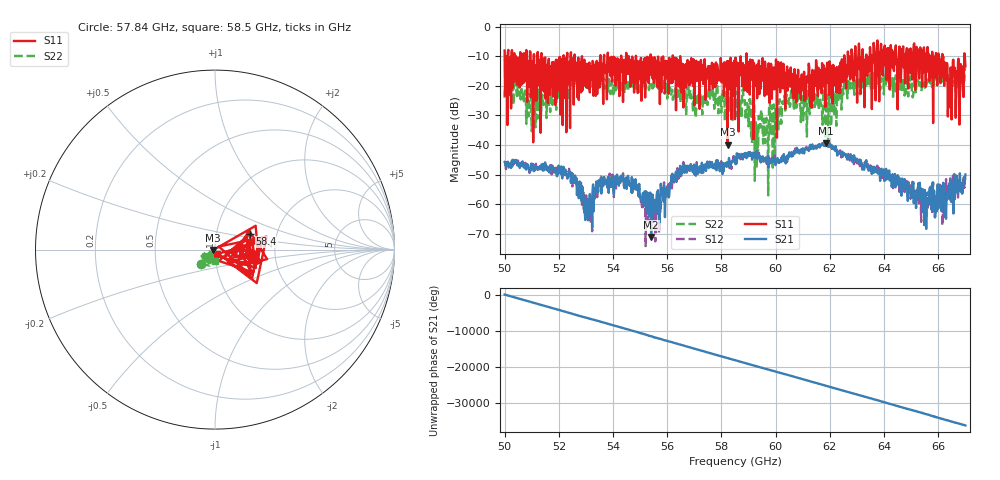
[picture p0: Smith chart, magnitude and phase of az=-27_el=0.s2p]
!Created with skrf (http://scikit-rf.org).
# GHz S RI R 50.0
!freq ReS11 ImS11 ReS21 ImS21 ReS12 ImS12 ReS22 ImS22
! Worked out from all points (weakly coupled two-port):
!   1001 points, 50 GHz to 67 GHz, reference 50 ohm
!   highest |S21| = -39.38 dB at 61.87 GHz (marker M1); lowest = -71.1 dB at 55.41 GHz (marker M2)
!   lowest |S11| = -39.9 dB at 58.23 GHz (marker M3), VSWR 1.02, Z = 49 - j0.263 ohm
!   |S11| at or under -10 dB: 51.36 GHz to 52.17 GHz (808.1 MHz wide, 1.56 % of centre); 56.48 GHz to 58.92 GHz (2.446 GHz wide, 4.24 % of centre); 58.93 GHz to 62.53 GHz (3.598 GHz wide, 5.92 % of centre) (the widest 3 of 65)
!   |S22| runs from -57.1 to -13.2 dB; largest |S21 - S12| = 0.0022
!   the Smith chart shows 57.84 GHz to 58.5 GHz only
!   S11 on the Smith chart (normalised r, x): 57.84 GHz: 1.56, -0.19; 58.4 GHz: 1.46, +0.27; 58.5 GHz: 1.02, -0.05
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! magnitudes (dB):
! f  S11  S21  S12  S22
! 50 GHz  -8.1  -45.8  -46.3  -24.1
! 51.07 GHz  -9.4  -48.9  -47.6  -26.4
! 52.84 GHz  -11.2  -59.0  -56.2  -19.4
! 53.04 GHz  -14.6  -61.2  -58.2  -20.6
! 53.55 GHz  -18.2  -51.3  -50.7  -16.0
! 54.37 GHz  -25.5  -50.4  -49.6  -18.4
! 55.41 GHz  -14.9  -71.1  -63.3  -19.4
! 55.68 GHz  -13.6  -61.4  -57.3  -20.9
! 56.63 GHz  -18.2  -49.4  -49.2  -20.0
! 57.84 GHz  -12.8  -46.9  -48.0  -19.2
! 58.23 GHz  -39.9  -46.2  -46.8  -22.7
! 58.4 GHz  -13.4  -45.4  -45.6  -25.5
! 58.5 GHz  -31.3  -44.3  -45.6  -23.9
! 59.11 GHz  -12.7  -43.0  -42.8  -34.5
! 59.32 GHz  -24.2  -44.7  -44.4  -34.0
! 60.34 GHz  -15.5  -44.8  -45.0  -25.4
! 61.34 GHz  -27.4  -40.4  -40.8  -26.3
! 61.87 GHz  -14.1  -39.4  -39.6  -27.2
! 64.18 GHz  -11.9  -48.7  -50.1  -17.7
! 65.56 GHz  -11.8  -68.4  -59.2  -19.6
! 66.44 GHz  -19.2  -51.3  -58.4  -16.1
! 67 GHz  -13.4  -50.0  -51.8  -14.4
